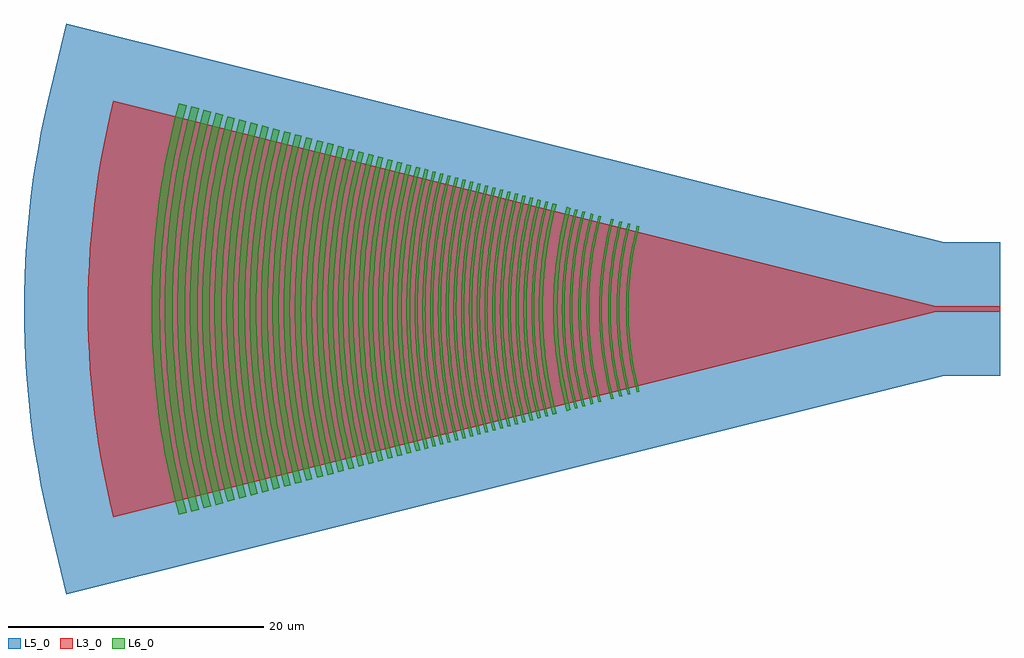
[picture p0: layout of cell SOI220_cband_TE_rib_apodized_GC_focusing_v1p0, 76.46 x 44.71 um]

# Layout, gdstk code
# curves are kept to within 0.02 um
import gdstk
lib = gdstk.Library(unit=1e-6, precision=1e-09)
def P(c, l, *ps):  # polygons
    for p in ps: c.add(gdstk.Polygon(p, *l))
L3_0 = (3, 0)
L5_0 = (5, 0)
L6_0 = (6, 0)

soi220_cband_te_rib_apod = lib.new_cell('SOI220_cband_TE_rib_apodized_GC_focusing_v1p0')
P(soi220_cband_te_rib_apod, L3_0, [(-69.455,-16.295),(-69.984,-14.005),(-70.433,-11.697),(-70.627,-10.537),(-70.954,-8.209),(-71.2,-5.871),(-71.364,-3.525),(-71.446,-1.176),(-71.456,0),(-71.446,1.176),(-71.364,3.525),(-71.2,5.871),(-70.954,8.209),(-70.627,10.537),(-70.433,11.697),(-69.984,14.005),(-69.455,16.295),(-5,0.225),(0,0.225),(0,-0.225),(-5,-0.225)])
P(soi220_cband_te_rib_apod, L5_0, [(-73.097,-22.356),(-73.147,-22.326),(-74.602,-16.277),(-75.126,-13.808),(-75.566,-11.317),(-75.917,-8.82),(-76.181,-6.307),(-76.357,-3.787),(-76.445,-1.263),(-76.456,0),(-76.445,1.263),(-76.357,3.787),(-76.181,6.307),(-75.917,8.82),(-75.566,11.317),(-75.126,13.808),(-74.602,16.277),(-73.147,22.326),(-73.097,22.356),(-4.385,5.225),(0,5.225),(0,-5.225),(-4.386,-5.225)])
P(soi220_cband_te_rib_apod, L6_0, [(-28.439,-6.522),(-28.835,-4.808),(-29.111,-3.071),(-29.251,-1.538),(-29.298,0),(-29.251,1.538),(-29.111,3.071),(-28.835,4.808),(-28.439,6.522),(-28.246,6.47),(-28.639,4.77),(-28.884,3.263),(-29.037,1.744),(-29.098,0),(-29.037,-1.744),(-28.884,-3.263),(-28.639,-4.77),(-28.246,-6.47)],
  [(-29.145,-6.711),(-29.508,-5.17),(-29.807,-3.385),(-29.981,-1.583),(-30.029,0),(-29.981,1.583),(-29.807,3.385),(-29.508,5.17),(-29.145,6.711),(-28.952,6.66),(-29.356,4.91),(-29.609,3.359),(-29.781,1.571),(-29.829,0),(-29.781,-1.571),(-29.609,-3.359),(-29.356,-4.91),(-28.952,-6.66)],
  [(-29.793,-6.884),(-30.166,-5.304),(-30.472,-3.472),(-30.636,-1.856),(-30.7,0),(-30.636,1.856),(-30.472,3.472),(-30.166,5.304),(-29.793,6.884),(-29.6,6.833),(-30.015,5.038),(-30.274,3.446),(-30.436,1.842),(-30.5,0),(-30.436,-1.842),(-30.274,-3.446),(-30.015,-5.038),(-29.6,-6.833)],
  [(-30.465,-7.064),(-30.847,-5.442),(-31.161,-3.563),(-31.329,-1.904),(-31.395,0),(-31.329,1.904),(-31.161,3.563),(-30.847,5.442),(-30.465,7.064),(-30.272,7.013),(-30.651,5.402),(-30.963,3.537),(-31.129,1.89),(-31.195,0),(-31.129,-1.89),(-30.963,-3.537),(-30.651,-5.402),(-30.272,-7.013)],
  [(-31.431,-7.323),(-31.827,-5.642),(-32.153,-3.693),(-32.343,-1.727),(-32.395,0),(-32.343,1.727),(-32.153,3.693),(-31.827,5.642),(-31.431,7.323),(-31.238,7.272),(-31.679,5.361),(-31.955,3.667),(-32.127,1.96),(-32.195,0),(-32.127,-1.96),(-31.955,-3.667),(-31.679,-5.361),(-31.238,-7.272)],
  [(-32.047,-7.488),(-32.452,-5.769),(-32.785,-3.777),(-32.963,-2.018),(-33.033,0),(-32.963,2.018),(-32.785,3.777),(-32.452,5.769),(-32.047,7.488),(-31.854,7.437),(-32.305,5.483),(-32.587,3.751),(-32.763,2.004),(-32.833,0),(-32.763,-2.004),(-32.587,-3.751),(-32.305,-5.483),(-31.854,-7.437)],
  [(-32.7,-7.663),(-33.115,-5.904),(-33.455,-3.865),(-33.637,-2.066),(-33.709,0),(-33.637,2.066),(-33.455,3.865),(-33.115,5.904),(-32.7,7.663),(-32.507,7.612),(-32.919,5.864),(-33.257,3.839),(-33.454,1.795),(-33.509,0),(-33.454,-1.795),(-33.257,-3.839),(-32.919,-5.864),(-32.507,-7.612)],
  [(-33.285,-7.82),(-33.76,-5.766),(-34.056,-3.944),(-34.242,-2.108),(-34.315,0),(-34.242,2.108),(-34.056,3.944),(-33.76,5.766),(-33.285,7.82),(-33.092,7.769),(-33.564,5.728),(-33.858,3.918),(-34.042,2.094),(-34.115,0),(-34.042,-2.094),(-33.858,-3.918),(-33.564,-5.728),(-33.092,-7.769)],
  [(-33.947,-7.996),(-34.379,-6.161),(-34.7,-4.3),(-34.925,-2.155),(-35,0),(-34.925,2.155),(-34.7,4.3),(-34.379,6.161),(-33.947,7.996),(-33.623,7.911),(-34.051,6.094),(-34.403,3.99),(-34.591,2.132),(-34.665,0),(-34.591,-2.132),(-34.403,-3.99),(-34.051,-6.094),(-33.623,-7.911)],
  [(-35.036,-8.289),(-35.484,-6.385),(-35.853,-4.181),(-36.049,-2.234),(-36.108,-1.118),(-36.127,0),(-36.108,1.118),(-36.049,2.234),(-35.853,4.181),(-35.484,6.385),(-35.036,8.289),(-34.734,8.209),(-35.232,6.052),(-35.544,4.14),(-35.738,2.212),(-35.815,0),(-35.738,-2.212),(-35.544,-4.14),(-35.232,-6.052),(-34.734,-8.209)],
  [(-35.581,-8.435),(-36.038,-6.498),(-36.245,-5.38),(-36.413,-4.254),(-36.632,-1.99),(-36.692,0),(-36.632,1.99),(-36.413,4.254),(-36.245,5.38),(-36.038,6.498),(-35.581,8.435),(-35.388,8.384),(-35.842,6.458),(-36.048,5.347),(-36.215,4.228),(-36.432,1.978),(-36.492,0),(-36.432,-1.978),(-36.215,-4.228),(-36.048,-5.347),(-35.842,-6.458),(-35.388,-8.384)],
  [(-36.206,-8.602),(-36.671,-6.627),(-36.883,-5.486),(-37.054,-4.339),(-37.185,-3.186),(-37.276,-2.029),(-37.338,0),(-37.276,2.029),(-37.185,3.186),(-37.054,4.339),(-36.883,5.486),(-36.671,6.627),(-36.206,8.602),(-35.96,8.537),(-36.422,6.576),(-36.632,5.444),(-36.802,4.306),(-37.004,2.301),(-37.064,1.151),(-37.084,0),(-37.064,-1.151),(-37.004,-2.301),(-36.802,-4.306),(-36.632,-5.444),(-36.422,-6.576),(-35.96,-8.537)],
  [(-36.796,-8.761),(-37.082,-7.614),(-37.327,-6.459),(-37.66,-4.418),(-37.793,-3.244),(-37.886,-2.067),(-37.949,0),(-37.886,2.067),(-37.793,3.244),(-37.66,4.418),(-37.327,6.459),(-37.082,7.614),(-36.796,8.761),(-36.558,8.698),(-36.842,7.559),(-37.086,6.412),(-37.416,4.386),(-37.621,2.344),(-37.683,1.173),(-37.703,0),(-37.683,-1.173),(-37.621,-2.344),(-37.416,-4.386),(-37.086,-6.412),(-36.842,-7.559),(-36.558,-8.698)],
  [(-37.378,-8.917),(-37.669,-7.75),(-37.919,-6.574),(-38.257,-4.497),(-38.393,-3.302),(-38.488,-2.103),(-38.552,0),(-38.488,2.103),(-38.393,3.302),(-38.257,4.497),(-37.919,6.574),(-37.669,7.75),(-37.378,8.917),(-37.155,8.858),(-37.634,6.823),(-37.852,5.648),(-38.028,4.467),(-38.238,2.387),(-38.3,1.194),(-38.321,0),(-38.3,-1.194),(-38.238,-2.387),(-38.028,-4.467),(-37.852,-5.648),(-37.634,-6.823),(-37.155,-8.858)],
  [(-37.975,-9.077),(-38.466,-6.992),(-38.689,-5.788),(-38.87,-4.578),(-39.009,-3.362),(-39.105,-2.141),(-39.17,0),(-39.105,2.141),(-39.009,3.362),(-38.87,4.578),(-38.689,5.788),(-38.466,6.992),(-37.975,9.077),(-37.733,9.013),(-38.221,6.942),(-38.442,5.747),(-38.622,4.545),(-38.76,3.338),(-38.855,2.126),(-38.92,0),(-38.855,-2.126),(-38.76,-3.338),(-38.622,-4.545),(-38.442,-5.747),(-38.221,-6.942),(-37.733,-9.013)],
  [(-38.555,-9.232),(-38.856,-8.025),(-39.115,-6.806),(-39.465,-4.657),(-39.606,-3.419),(-39.704,-2.178),(-39.77,0),(-39.704,2.178),(-39.606,3.419),(-39.465,4.657),(-39.115,6.806),(-38.856,8.025),(-38.555,9.232),(-38.336,9.174),(-38.636,7.974),(-38.893,6.763),(-39.241,4.627),(-39.458,2.473),(-39.522,1.237),(-39.544,0),(-39.522,-1.237),(-39.458,-2.473),(-39.241,-4.627),(-38.893,-6.763),(-38.636,-7.974),(-38.336,-9.174)],
  [(-39.143,-9.389),(-39.449,-8.161),(-39.713,-6.923),(-40.069,-4.735),(-40.212,-3.477),(-40.312,-2.215),(-40.379,0),(-40.312,2.215),(-40.212,3.477),(-40.069,4.735),(-39.713,6.923),(-39.449,8.161),(-39.143,9.389),(-38.92,9.33),(-39.224,8.109),(-39.486,6.879),(-39.84,4.705),(-39.982,3.455),(-40.081,2.201),(-40.148,0),(-40.081,-2.201),(-39.982,-3.455),(-39.84,-4.705),(-39.486,-6.879),(-39.224,-8.109),(-38.92,-9.33)],
  [(-39.733,-9.548),(-40.045,-8.299),(-40.313,-7.04),(-40.674,-4.815),(-40.82,-3.536),(-40.922,-2.252),(-40.99,0),(-40.922,2.252),(-40.82,3.536),(-40.674,4.815),(-40.313,7.04),(-40.045,8.299),(-39.733,9.548),(-39.496,9.485),(-39.806,8.244),(-40.072,6.993),(-40.431,4.783),(-40.576,3.512),(-40.677,2.237),(-40.745,0),(-40.677,-2.237),(-40.576,-3.512),(-40.431,-4.783),(-40.072,-6.993),(-39.806,-8.244),(-39.496,-9.485)],
  [(-40.324,-9.706),(-40.849,-7.477),(-41.088,-6.189),(-41.281,-4.895),(-41.429,-3.594),(-41.533,-2.29),(-41.602,0),(-41.533,2.29),(-41.429,3.594),(-41.281,4.895),(-41.088,6.189),(-40.849,7.477),(-40.324,9.706),(-40.086,9.643),(-40.608,7.428),(-40.845,6.149),(-41.037,4.863),(-41.184,3.571),(-41.287,2.275),(-41.356,0),(-41.287,-2.275),(-41.184,-3.571),(-41.037,-4.863),(-40.845,-6.149),(-40.608,-7.428),(-40.086,-9.643)],
  [(-40.913,-9.863),(-41.234,-8.574),(-41.511,-7.273),(-41.885,-4.975),(-42.036,-3.653),(-42.14,-2.327),(-42.211,0),(-42.14,2.327),(-42.036,3.653),(-41.885,4.975),(-41.511,7.273),(-41.234,8.574),(-40.913,9.863),(-40.677,9.801),(-41.207,7.55),(-41.448,6.25),(-41.643,4.943),(-41.875,2.642),(-41.944,1.322),(-41.967,0),(-41.944,-1.322),(-41.875,-2.642),(-41.643,-4.943),(-41.448,-6.25),(-41.207,-7.55),(-40.677,-9.801)],
  [(-41.499,-10.02),(-42.041,-7.72),(-42.287,-6.391),(-42.487,-5.054),(-42.64,-3.711),(-42.746,-2.364),(-42.818,0),(-42.746,2.364),(-42.64,3.711),(-42.487,5.054),(-42.287,6.391),(-42.041,7.72),(-41.499,10.02),(-41.267,9.959),(-41.806,7.672),(-42.05,6.351),(-42.249,5.023),(-42.401,3.688),(-42.506,2.349),(-42.578,0),(-42.506,-2.349),(-42.401,-3.688),(-42.249,-5.023),(-42.05,-6.351),(-41.806,-7.672),(-41.267,-9.959)],
  [(-42.081,-10.176),(-42.413,-8.846),(-42.699,-7.503),(-43.085,-5.133),(-43.24,-3.768),(-43.348,-2.4),(-43.421,0),(-43.348,2.4),(-43.24,3.768),(-43.085,5.133),(-42.699,7.503),(-42.413,8.846),(-42.081,10.176),(-41.853,10.116),(-42.183,8.793),(-42.467,7.458),(-42.851,5.102),(-43.09,2.727),(-43.161,1.364),(-43.185,0),(-43.161,-1.364),(-43.09,-2.727),(-42.851,-5.102),(-42.467,-7.458),(-42.183,-8.793),(-41.853,-10.116)],
  [(-42.668,-10.334),(-43.006,-8.983),(-43.296,-7.619),(-43.687,-5.212),(-43.845,-3.827),(-43.955,-2.438),(-44.029,0),(-43.955,2.438),(-43.845,3.827),(-43.687,5.212),(-43.296,7.619),(-43.006,8.983),(-42.668,10.334),(-42.438,10.273),(-42.774,8.929),(-43.062,7.574),(-43.451,5.181),(-43.608,3.804),(-43.717,2.423),(-43.791,0),(-43.717,-2.423),(-43.608,-3.804),(-43.451,-5.181),(-43.062,-7.574),(-42.774,-8.929),(-42.438,-10.273)],
  [(-43.255,-10.492),(-43.823,-8.082),(-44.081,-6.691),(-44.29,-5.292),(-44.45,-3.886),(-44.562,-2.475),(-44.637,0),(-44.562,2.475),(-44.45,3.886),(-44.29,5.292),(-44.081,6.691),(-43.823,8.082),(-43.255,10.492),(-43.037,10.434),(-43.378,9.068),(-43.736,7.346),(-43.968,5.959),(-44.152,4.564),(-44.356,2.11),(-44.411,0),(-44.356,-2.11),(-44.152,-4.564),(-43.968,-5.959),(-43.736,-7.346),(-43.378,-9.068),(-43.037,-10.434)],
  [(-43.844,-10.649),(-44.42,-8.204),(-44.682,-6.791),(-44.894,-5.371),(-45.057,-3.944),(-45.17,-2.512),(-45.246,0),(-45.17,2.512),(-45.057,3.944),(-44.894,5.371),(-44.682,6.791),(-44.42,8.204),(-43.844,10.649),(-43.612,10.588),(-43.958,9.202),(-44.321,7.455),(-44.557,6.047),(-44.782,4.276),(-44.95,2.141),(-45.006,0),(-44.95,-2.141),(-44.782,-4.276),(-44.557,-6.047),(-44.321,-7.455),(-43.958,-9.202),(-43.612,-10.588)],
  [(-44.425,-10.805),(-45.01,-8.323),(-45.276,-6.891),(-45.491,-5.45),(-45.656,-4.002),(-45.771,-2.548),(-45.848,0),(-45.771,2.548),(-45.656,4.002),(-45.491,5.45),(-45.276,6.891),(-45.01,8.323),(-44.425,10.805),(-44.196,10.744),(-44.627,8.985),(-44.916,7.565),(-45.155,6.136),(-45.384,4.339),(-45.554,2.173),(-45.611,0),(-45.554,-2.173),(-45.384,-4.339),(-45.155,-6.136),(-44.916,-7.565),(-44.627,-8.985),(-44.196,-10.744)],
  [(-45.059,-10.974),(-45.418,-9.54),(-45.653,-8.454),(-45.922,-6.999),(-46.142,-5.535),(-46.4,-2.958),(-46.478,-1.48),(-46.504,0),(-46.478,1.48),(-46.4,2.958),(-46.142,5.535),(-45.922,6.999),(-45.653,8.454),(-45.418,9.54),(-45.059,10.974),(-44.778,10.9),(-45.368,8.396),(-45.635,6.951),(-45.853,5.497),(-46.11,2.938),(-46.187,1.47),(-46.213,0),(-46.187,-1.47),(-46.11,-2.938),(-45.853,-5.497),(-45.635,-6.951),(-45.368,-8.396),(-44.778,-10.9)],
  [(-45.739,-11.156),(-46.102,-9.697),(-46.415,-8.226),(-46.838,-5.627),(-47.102,-3.008),(-47.181,-1.505),(-47.207,0),(-47.181,1.505),(-47.102,3.008),(-46.838,5.627),(-46.415,8.226),(-46.102,9.697),(-45.739,11.156),(-45.412,11.07),(-45.773,9.621),(-46.083,8.161),(-46.503,5.583),(-46.765,2.984),(-46.843,1.493),(-46.869,0),(-46.843,-1.493),(-46.765,-2.984),(-46.503,-5.583),(-46.083,-8.161),(-45.773,-9.621),(-45.412,-11.07)],
  [(-46.465,-11.351),(-47.079,-8.745),(-47.358,-7.239),(-47.584,-5.725),(-47.719,-4.585),(-47.852,-3.06),(-47.933,-1.531),(-47.959,0),(-47.933,1.531),(-47.852,3.06),(-47.719,4.585),(-47.584,5.725),(-47.358,7.239),(-47.079,8.745),(-46.465,11.351),(-46.107,11.256),(-46.716,8.671),(-46.993,7.178),(-47.217,5.677),(-47.389,4.168),(-47.508,2.655),(-47.563,1.518),(-47.589,0),(-47.563,-1.518),(-47.508,-2.655),(-47.389,-4.168),(-47.217,-5.677),(-46.993,-7.178),(-46.716,-8.671),(-46.107,-11.256)],
  [(-47.203,-11.549),(-47.491,-10.417),(-47.828,-8.897),(-48.112,-7.365),(-48.342,-5.825),(-48.48,-4.664),(-48.615,-3.113),(-48.697,-1.557),(-48.724,0),(-48.697,1.557),(-48.615,3.113),(-48.48,4.664),(-48.342,5.825),(-48.112,7.365),(-47.828,8.897),(-47.491,10.417),(-47.203,11.549),(-46.838,11.452),(-47.212,9.954),(-47.458,8.822),(-47.739,7.303),(-47.967,5.776),(-48.104,4.625),(-48.238,3.087),(-48.319,1.544),(-48.346,0),(-48.319,-1.544),(-48.238,-3.087),(-48.104,-4.625),(-47.967,-5.776),(-47.739,-7.303),(-47.458,-8.822),(-47.212,-9.954),(-46.838,-11.452)],
  [(-47.95,-11.748),(-48.333,-10.213),(-48.663,-8.662),(-48.875,-7.493),(-49.109,-5.926),(-49.288,-4.352),(-49.412,-2.772),(-49.47,-1.585),(-49.497,0),(-49.47,1.585),(-49.412,2.772),(-49.288,4.352),(-49.109,5.926),(-48.875,7.493),(-48.663,8.662),(-48.333,10.213),(-47.95,11.748),(-47.574,11.649),(-47.954,10.125),(-48.281,8.588),(-48.491,7.429),(-48.723,5.875),(-48.901,4.314),(-49.024,2.748),(-49.081,1.571),(-49.108,0),(-49.081,-1.571),(-49.024,-2.748),(-48.901,-4.314),(-48.723,-5.875),(-48.491,-7.429),(-48.281,-8.588),(-47.954,-10.125),(-47.574,-11.649)],
  [(-48.703,-11.95),(-49.093,-10.388),(-49.428,-8.811),(-49.643,-7.621),(-49.881,-6.027),(-50.063,-4.426),(-50.19,-2.819),(-50.248,-1.612),(-50.276,0),(-50.248,1.612),(-50.19,2.819),(-50.063,4.426),(-49.881,6.027),(-49.643,7.621),(-49.428,8.811),(-49.093,10.388),(-48.703,11.95),(-48.317,11.848),(-48.704,10.298),(-49.036,8.735),(-49.249,7.556),(-49.485,5.975),(-49.666,4.388),(-49.792,2.795),(-49.849,1.598),(-49.877,0),(-49.849,-1.598),(-49.792,-2.795),(-49.666,-4.388),(-49.485,-5.975),(-49.249,-7.556),(-49.036,-8.735),(-48.704,-10.298),(-48.317,-11.848)],
  [(-49.464,-12.153),(-49.86,-10.564),(-50.2,-8.961),(-50.485,-7.347),(-50.661,-6.131),(-50.806,-4.909),(-50.949,-3.276),(-51.035,-1.639),(-51.063,0),(-51.035,1.639),(-50.949,3.276),(-50.806,4.909),(-50.661,6.131),(-50.485,7.347),(-50.2,8.961),(-49.86,10.564),(-49.464,12.153),(-49.066,12.049),(-49.459,10.472),(-49.797,8.883),(-50.014,7.684),(-50.254,6.077),(-50.438,4.462),(-50.539,3.247),(-50.624,1.625),(-50.652,0),(-50.624,-1.625),(-50.539,-3.247),(-50.438,-4.462),(-50.254,-6.077),(-50.014,-7.684),(-49.797,-8.883),(-49.459,-10.472),(-49.066,-12.049)],
  [(-50.235,-12.36),(-50.638,-10.744),(-50.904,-9.522),(-51.207,-7.883),(-51.453,-6.234),(-51.601,-4.992),(-51.746,-3.332),(-51.833,-1.667),(-51.862,0),(-51.833,1.667),(-51.746,3.332),(-51.601,4.992),(-51.453,6.234),(-51.207,7.883),(-50.904,9.522),(-50.638,10.744),(-50.235,12.36),(-49.825,12.252),(-50.225,10.649),(-50.488,9.438),(-50.789,7.813),(-51.033,6.179),(-51.179,4.948),(-51.323,3.302),(-51.409,1.652),(-51.438,0),(-51.409,-1.652),(-51.323,-3.302),(-51.179,-4.948),(-51.033,-6.179),(-50.789,-7.813),(-50.488,-9.438),(-50.225,-10.649),(-49.825,-12.252)],
  [(-51.023,-12.571),(-51.433,-10.928),(-51.786,-9.269),(-52.08,-7.6),(-52.262,-6.34),(-52.412,-5.078),(-52.56,-3.388),(-52.649,-1.696),(-52.678,0),(-52.649,1.696),(-52.56,3.388),(-52.412,5.078),(-52.262,6.34),(-52.08,7.6),(-51.786,9.269),(-51.433,10.928),(-51.023,12.571),(-50.597,12.459),(-51.003,10.829),(-51.353,9.185),(-51.577,7.945),(-51.825,6.283),(-51.973,5.032),(-52.12,3.358),(-52.208,1.68),(-52.237,0),(-52.208,-1.68),(-52.12,-3.358),(-51.973,-5.032),(-51.825,-6.283),(-51.577,-7.945),(-51.353,-9.185),(-51.003,-10.829),(-50.597,-12.459)],
  [(-51.834,-12.788),(-52.25,-11.117),(-52.525,-9.852),(-52.84,-8.157),(-53.094,-6.451),(-53.29,-4.737),(-53.397,-3.447),(-53.487,-1.725),(-53.517,0),(-53.487,1.725),(-53.397,3.447),(-53.29,4.737),(-53.094,6.451),(-52.84,8.157),(-52.525,9.852),(-52.25,11.117),(-51.834,12.788),(-51.391,12.672),(-51.804,11.014),(-52.076,9.761),(-52.388,8.081),(-52.64,6.391),(-52.834,4.693),(-52.968,2.989),(-53.029,1.709),(-53.059,0),(-53.042,-1.282),(-52.968,-2.989),(-52.834,-4.693),(-52.64,-6.391),(-52.388,-8.081),(-52.076,-9.761),(-51.804,-11.014),(-51.391,-12.672)],
  [(-52.661,-13.011),(-53.086,-11.309),(-53.365,-10.023),(-53.684,-8.298),(-53.944,-6.563),(-54.143,-4.818),(-54.252,-3.507),(-54.344,-1.754),(-54.374,0),(-54.344,1.754),(-54.252,3.507),(-54.143,4.818),(-53.944,6.563),(-53.684,8.298),(-53.365,10.023),(-53.086,11.309),(-52.661,13.011),(-52.204,12.89),(-52.625,11.203),(-52.986,9.503),(-53.288,7.791),(-53.475,6.501),(-53.672,4.773),(-53.78,3.474),(-53.871,1.738),(-53.901,0),(-53.871,-1.738),(-53.78,-3.474),(-53.672,-4.773),(-53.475,-6.501),(-53.288,-7.791),(-52.986,-9.503),(-52.625,-11.203),(-52.204,-12.89)],
  [(-53.5,-13.235),(-53.932,-11.505),(-54.215,-10.196),(-54.54,-8.441),(-54.805,-6.675),(-55.007,-4.903),(-55.118,-3.568),(-55.211,-1.785),(-55.242,0),(-55.211,1.785),(-55.118,3.568),(-55.007,4.903),(-54.805,6.675),(-54.54,8.441),(-54.215,10.196),(-53.932,11.505),(-53.5,13.235),(-53.032,13.112),(-53.46,11.396),(-53.741,10.1),(-54.063,8.361),(-54.325,6.612),(-54.525,4.856),(-54.664,3.093),(-54.741,1.326),(-54.758,0),(-54.741,-1.326),(-54.664,-3.093),(-54.525,-4.856),(-54.325,-6.612),(-54.063,-8.361),(-53.741,-10.1),(-53.46,-11.396),(-53.032,-13.112)],
  [(-54.346,-13.463),(-54.784,-11.703),(-55.074,-10.37),(-55.404,-8.586),(-55.673,-6.789),(-55.879,-4.985),(-56.021,-3.176),(-56.087,-1.815),(-56.118,0),(-56.087,1.815),(-56.021,3.176),(-55.879,4.985),(-55.673,6.789),(-55.404,8.586),(-55.074,10.37),(-54.784,11.703),(-54.346,13.463),(-53.867,13.336),(-54.302,11.591),(-54.589,10.272),(-54.916,8.504),(-55.182,6.725),(-55.386,4.938),(-55.527,3.146),(-55.592,1.798),(-55.623,0),(-55.592,-1.798),(-55.527,-3.146),(-55.386,-4.938),(-55.182,-6.725),(-54.916,-8.504),(-54.589,-10.272),(-54.302,-11.591),(-53.867,-13.336)],
  [(-55.197,-13.689),(-55.643,-11.901),(-56.027,-10.095),(-56.348,-8.276),(-56.547,-6.905),(-56.756,-5.071),(-56.87,-3.69),(-56.967,-1.847),(-56.999,0),(-56.967,1.847),(-56.87,3.69),(-56.756,5.071),(-56.547,6.905),(-56.348,8.276),(-56.027,10.095),(-55.643,11.901),(-55.197,13.689),(-54.709,13.561),(-55.151,11.787),(-55.442,10.446),(-55.775,8.648),(-56.046,6.839),(-56.253,5.022),(-56.396,3.199),(-56.462,1.829),(-56.494,0),(-56.476,-1.372),(-56.396,-3.199),(-56.253,-5.022),(-56.046,-6.839),(-55.775,-8.648),(-55.442,-10.446),(-55.151,-11.787),(-54.709,-13.561)],
  [(-56.055,-13.919),(-56.509,-12.1),(-56.808,-10.724),(-57.149,-8.878),(-57.427,-7.021),(-57.64,-5.155),(-57.787,-3.284),(-57.855,-1.877),(-57.887,0),(-57.855,1.877),(-57.787,3.284),(-57.64,5.155),(-57.427,7.021),(-57.149,8.878),(-56.808,10.724),(-56.509,12.1),(-56.055,13.919),(-55.556,13.788),(-56.006,11.984),(-56.302,10.621),(-56.64,8.793),(-56.915,6.954),(-57.126,5.106),(-57.272,3.252),(-57.339,1.859),(-57.371,0),(-57.339,-1.859),(-57.272,-3.252),(-57.126,-5.106),(-56.915,-6.954),(-56.64,-8.793),(-56.302,-10.621),(-56.006,-11.984),(-55.556,-13.788)],
  [(-56.92,-14.151),(-57.381,-12.301),(-57.684,-10.902),(-58.032,-9.025),(-58.315,-7.138),(-58.531,-5.242),(-58.649,-3.815),(-58.749,-1.908),(-58.782,0),(-58.749,1.908),(-58.649,3.815),(-58.531,5.242),(-58.315,7.138),(-58.032,9.025),(-57.684,10.902),(-57.381,12.301),(-56.92,14.151),(-56.41,14.017),(-56.759,12.643),(-57.168,10.797),(-57.512,8.938),(-57.792,7.069),(-58.006,5.191),(-58.154,3.306),(-58.222,1.89),(-58.255,0),(-58.222,-1.89),(-58.154,-3.306),(-58.006,-5.191),(-57.792,-7.069),(-57.512,-8.938),(-57.168,-10.797),(-56.759,-12.643),(-56.41,-14.017)],
  [(-57.793,-14.386),(-58.262,-12.504),(-58.666,-10.607),(-58.925,-9.175),(-59.211,-7.256),(-59.431,-5.328),(-59.552,-3.878),(-59.653,-1.94),(-59.687,0),(-59.653,1.94),(-59.552,3.878),(-59.431,5.328),(-59.211,7.256),(-58.925,9.175),(-58.666,10.607),(-58.262,12.504),(-57.793,14.386),(-57.271,14.248),(-57.736,12.383),(-58.136,10.504),(-58.392,9.086),(-58.676,7.185),(-58.894,5.276),(-59.013,3.84),(-59.113,1.921),(-59.147,0),(-59.113,-1.921),(-59.013,-3.84),(-58.894,-5.276),(-58.676,-7.185),(-58.392,-9.086),(-58.136,-10.504),(-57.736,-12.383),(-57.271,-14.248)],
  [(-58.682,-14.624),(-59.046,-13.192),(-59.473,-11.266),(-59.832,-9.327),(-60.123,-7.376),(-60.297,-5.907),(-60.47,-3.942),(-60.573,-1.972),(-60.607,0),(-60.573,1.972),(-60.47,3.942),(-60.297,5.907),(-60.123,7.376),(-59.832,9.327),(-59.473,11.266),(-59.046,13.192),(-58.682,14.624),(-58.145,14.482),(-58.618,12.587),(-58.929,11.155),(-59.285,9.235),(-59.573,7.303),(-59.794,5.363),(-59.948,3.416),(-60.033,1.465),(-60.052,0),(-60.033,-1.465),(-59.948,-3.416),(-59.794,-5.363),(-59.573,-7.303),(-59.285,-9.235),(-58.929,-11.155),(-58.618,-12.587),(-58.145,-14.482)],
  [(-59.586,-14.865),(-59.956,-13.41),(-60.39,-11.453),(-60.755,-9.481),(-61.051,-7.498),(-61.278,-5.506),(-61.436,-3.507),(-61.524,-1.504),(-61.543,0),(-61.524,1.504),(-61.436,3.507),(-61.278,5.506),(-61.051,7.498),(-60.755,9.481),(-60.39,11.453),(-59.956,13.41),(-59.586,14.865),(-59.034,14.72),(-59.514,12.794),(-59.927,10.852),(-60.272,8.897),(-60.485,7.424),(-60.71,5.451),(-60.866,3.472),(-60.953,1.489),(-60.972,0),(-60.953,-1.489),(-60.866,-3.472),(-60.71,-5.451),(-60.485,-7.424),(-60.272,-8.897),(-59.927,-10.852),(-59.514,-12.794),(-59.034,-14.72)],
  [(-60.506,-15.112),(-60.998,-13.136),(-61.422,-11.143),(-61.776,-9.135),(-61.995,-7.623),(-62.175,-6.105),(-62.353,-4.074),(-62.46,-2.038),(-62.495,0),(-62.46,2.038),(-62.353,4.074),(-62.175,6.105),(-61.995,7.623),(-61.776,9.135),(-61.422,11.143),(-60.998,13.136),(-60.506,15.112),(-59.938,14.962),(-60.426,13.004),(-60.846,11.031),(-61.115,9.541),(-61.413,7.546),(-61.642,5.541),(-61.767,4.033),(-61.873,2.018),(-61.908,0),(-61.873,-2.018),(-61.767,-4.033),(-61.642,-5.541),(-61.413,-7.546),(-61.115,-9.541),(-60.846,-11.031),(-60.426,-13.004),(-59.938,-14.962)],
  [(-61.441,-15.362),(-61.942,-13.355),(-62.372,-11.328),(-62.733,-9.287),(-62.955,-7.749),(-63.138,-6.205),(-63.319,-4.141),(-63.427,-2.072),(-63.463,0),(-63.427,2.072),(-63.319,4.141),(-63.138,6.205),(-62.955,7.749),(-62.733,9.287),(-62.372,11.328),(-61.942,13.355),(-61.441,15.362),(-60.859,15.209),(-61.355,13.219),(-61.781,11.213),(-62.138,9.193),(-62.358,7.67),(-62.539,6.142),(-62.718,4.099),(-62.825,2.051),(-62.861,0),(-62.825,-2.051),(-62.718,-4.099),(-62.539,-6.142),(-62.358,-7.67),(-62.138,-9.193),(-61.781,-11.213),(-61.355,-13.219),(-60.859,-15.209)],
  [(-62.391,-15.616),(-62.899,-13.575),(-63.338,-11.515),(-63.619,-9.96),(-63.93,-7.876),(-64.168,-5.784),(-64.334,-3.684),(-64.41,-2.107),(-64.446,0),(-64.41,2.107),(-64.334,3.684),(-64.168,5.784),(-63.93,7.876),(-63.619,9.96),(-63.338,11.515),(-62.899,13.575),(-62.391,15.616),(-61.794,15.46),(-62.298,13.437),(-62.732,11.397),(-63.094,9.344),(-63.318,7.796),(-63.554,5.725),(-63.718,3.646),(-63.809,1.564),(-63.829,0),(-63.809,-1.564),(-63.718,-3.646),(-63.554,-5.725),(-63.318,-7.796),(-63.094,-9.344),(-62.732,-11.397),(-62.298,-13.437),(-61.794,-15.46)],
  [(-63.353,-15.875),(-63.871,-13.8),(-64.316,-11.706),(-64.688,-9.597),(-64.919,-8.007),(-65.16,-5.88),(-65.329,-3.745),(-65.406,-2.141),(-65.443,0),(-65.406,2.141),(-65.329,3.745),(-65.16,5.88),(-64.919,8.007),(-64.688,9.597),(-64.316,11.706),(-63.871,13.8),(-63.353,15.875),(-62.742,15.714),(-63.255,13.657),(-63.696,11.585),(-64.064,9.498),(-64.292,7.925),(-64.531,5.819),(-64.698,3.706),(-64.774,2.119),(-64.811,0),(-64.774,-2.119),(-64.698,-3.706),(-64.531,-5.819),(-64.292,-7.925),(-64.064,-9.498),(-63.696,-11.585),(-63.255,-13.657),(-62.742,-15.714)],
  [(-64.332,-16.137),(-64.857,-14.027),(-65.31,-11.899),(-65.601,-10.292),(-65.922,-8.14),(-66.169,-5.977),(-66.34,-3.806),(-66.435,-1.632),(-66.456,0),(-66.435,1.632),(-66.34,3.806),(-66.169,5.977),(-65.922,8.14),(-65.601,10.292),(-65.31,11.899),(-64.857,14.027),(-64.332,16.137),(-63.706,15.972),(-64.104,14.406),(-64.57,12.303),(-64.963,10.185),(-65.281,8.055),(-65.471,6.451),(-65.659,4.305),(-65.771,2.154),(-65.809,0),(-65.771,-2.154),(-65.659,-4.305),(-65.471,-6.451),(-65.281,-8.055),(-64.963,-10.185),(-64.57,-12.303),(-64.104,-14.406),(-63.706,-15.972)])

lib.write_gds('SOI220_cband_TE_rib_apodized_GC_focusing_v1p0.gds')
